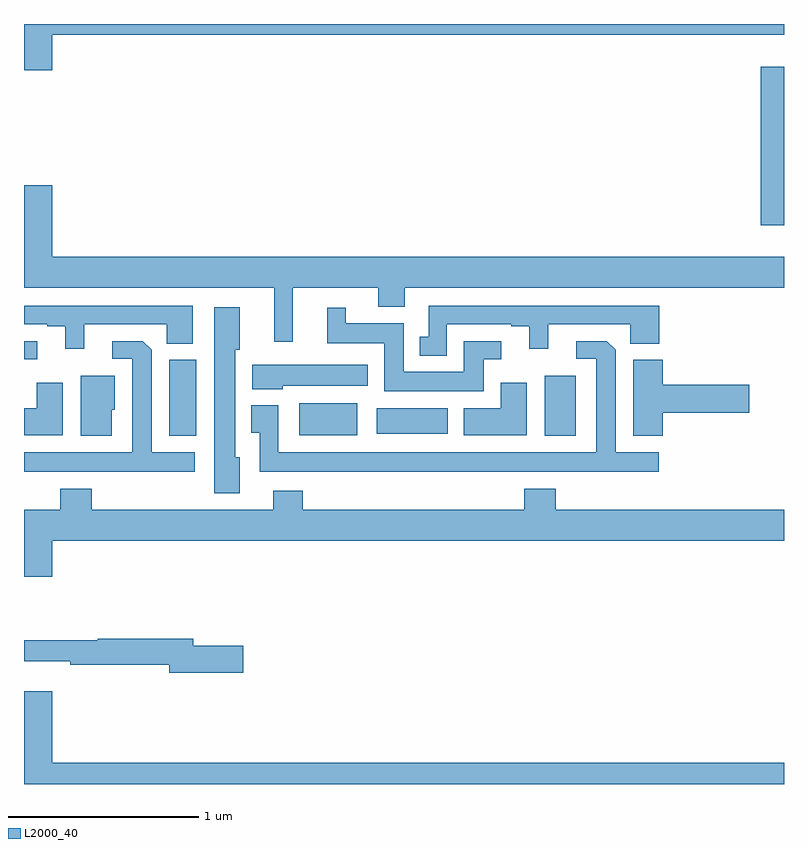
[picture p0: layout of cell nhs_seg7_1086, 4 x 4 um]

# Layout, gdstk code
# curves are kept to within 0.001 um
import gdstk
lib = gdstk.Library(unit=1e-6, precision=1e-09)
def R(c, l, rs):  # rectangles x0, y0, x1, y1
    for r in rs: c.add(gdstk.rectangle(r[:2], r[2:], *l))
def P(c, l, *ps):  # polygons
    for p in ps: c.add(gdstk.Polygon(p, *l))
L2000_40 = (2000, 40)

nhs_seg7_1086 = lib.new_cell('nhs_seg7_1086')
R(nhs_seg7_1086, L2000_40, [(189.764,1003.832,189.907,1004.233), (191.741,1003.832,191.905,1004.149), (190.448,1003.835,190.753,1004.005), (190.857,1003.844,191.23,1003.978), (189,1004.235,189.07,1004.331), (192.878,1004.94,193,1005.775)])
P(nhs_seg7_1086, L2000_40, [(189.148,1005.944),(193,1005.944),(193,1006),(189,1006),(189,1005.756),(189.148,1005.756)],
  [(190.415,1004.612),(190.865,1004.612),(190.865,1004.513),(191.005,1004.513),(191.005,1004.612),(193,1004.612),(193,1004.776),(189.148,1004.776),(189.148,1005.151),(189,1005.151),(189,1004.612),(190.316,1004.612),(190.316,1004.328),(190.415,1004.328)],
  [(189.316,1004.421),(189.75,1004.421),(189.75,1004.318),(189.889,1004.318),(189.889,1004.517),(189,1004.517),(189,1004.421),(189.122,1004.421),(189.122,1004.409),(189.218,1004.409),(189.218,1004.292),(189.316,1004.292)],
  [(191.226,1004.421),(191.564,1004.421),(191.564,1004.409),(191.66,1004.409),(191.66,1004.292),(191.758,1004.292),(191.758,1004.421),(192.192,1004.421),(192.192,1004.318),(192.344,1004.318),(192.344,1004.517),(191.13,1004.517),(191.13,1004.355),(191.084,1004.355),(191.084,1004.255),(191.226,1004.255)],
  [(190.135,1003.719),(190.111,1003.719),(190.111,1004.286),(190.135,1004.286),(190.135,1004.509),(190.001,1004.509),(190.001,1003.529),(190.135,1003.529)],
  [(191.419,1004.235),(191.512,1004.235),(191.512,1004.331),(191.315,1004.331),(191.315,1004.17),(190.999,1004.17),(190.999,1004.425),(190.693,1004.425),(190.693,1004.506),(190.595,1004.506),(190.595,1004.321),(190.895,1004.321),(190.895,1004.066),(191.419,1004.066)],
  [(189.898,1003.747),(189.673,1003.747),(189.672,1004.285),(189.626,1004.331),(189.465,1004.331),(189.465,1004.238),(189.569,1004.238),(189.569,1003.747),(189,1003.747),(189,1003.643),(189.898,1003.643)],
  [(192.34,1003.747),(192.115,1003.747),(192.114,1004.285),(192.068,1004.331),(191.907,1004.331),(191.907,1004.238),(192.011,1004.238),(192.011,1003.747),(190.338,1003.747),(190.338,1003.993),(190.196,1003.993),(190.196,1003.849),(190.241,1003.849),(190.241,1003.643),(192.34,1003.643)],
  [(192.362,1003.955),(192.817,1003.955),(192.817,1004.102),(192.362,1004.102),(192.362,1004.233),(192.206,1004.233),(192.206,1003.832),(192.362,1003.832)],
  [(190.362,1004.096),(190.81,1004.096),(190.81,1004.206),(190.2,1004.206),(190.2,1004.078),(190.362,1004.078)],
  [(189.463,1003.971),(189.478,1003.971),(189.478,1004.149),(189.299,1004.149),(189.299,1003.832),(189.463,1003.832)],
  [(189.205,1004.113),(189.068,1004.113),(189.068,1003.978),(189,1003.978),(189,1003.835),(189.205,1003.835)],
  [(191.647,1004.113),(191.51,1004.113),(191.51,1003.978),(191.315,1003.978),(191.315,1003.835),(191.647,1003.835)],
  [(189.148,1003.28),(193,1003.28),(193,1003.444),(191.798,1003.444),(191.798,1003.555),(191.633,1003.555),(191.633,1003.444),(190.466,1003.444),(190.466,1003.543),(190.313,1003.543),(190.313,1003.444),(189.356,1003.444),(189.356,1003.555),(189.191,1003.555),(189.191,1003.444),(189,1003.444),(189,1003.092),(189.148,1003.092)],
  [(190.153,1002.728),(189.892,1002.728),(189.892,1002.764),(189.388,1002.764),(189.388,1002.757),(189,1002.757),(189,1002.647),(189.244,1002.647),(189.244,1002.628),(189.764,1002.628),(189.764,1002.586),(190.153,1002.586)],
  [(193,1002.112),(189.148,1002.112),(189.148,1002.487),(189,1002.487),(189,1002),(193,1002)])

lib.write_gds('nhs_seg7_1086.gds')
